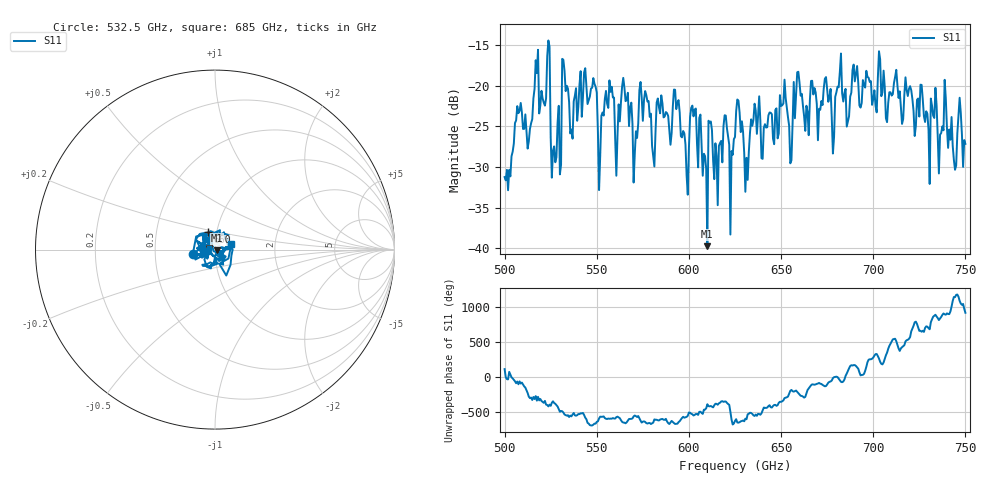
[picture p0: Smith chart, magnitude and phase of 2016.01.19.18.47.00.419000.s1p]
!Created with skrf (http://scikit-rf.org).
# GHz S RI R 50.0
!freq ReS11 ImS11
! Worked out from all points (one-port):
!   401 points, 500 GHz to 750 GHz, reference 50 ohm
!   lowest |S11| = -39.7 dB at 610 GHz (marker M1), VSWR 1.02, Z = 50.9 - j0.436 ohm
!   |S11| at or under -10 dB: start of sweep to end of sweep
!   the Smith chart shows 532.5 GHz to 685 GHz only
!   S11 on the Smith chart (normalised r, x): 532.5 GHz: 0.78, -0.04; 660 GHz: 0.91, +0.18; 685 GHz: 1.20, +0.07
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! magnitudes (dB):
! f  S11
! 500 GHz  -31.2
! 507.5 GHz  -23.4
! 513.8 GHz  -25.3
! 516.9 GHz  -16.9
! 523.1 GHz  -16.4
! 526.9 GHz  -27.5
! 531.2 GHz  -16.7
! 532.5 GHz  -18.2
! 536.2 GHz  -25.4
! 548.8 GHz  -19.8
! 551.9 GHz  -28.6
! 562.5 GHz  -24.4
! 571.2 GHz  -25.6
! 574.4 GHz  -21.4
! 580.6 GHz  -28.7
! 593.8 GHz  -22.1
! 598.8 GHz  -31.1
! 602.5 GHz  -23.8
! 610 GHz  -39.7
! 625 GHz  -26.3
! 631.2 GHz  -28.9
! 636.9 GHz  -25.9
! 656.2 GHz  -24.6
! 660 GHz  -19.6
! 685 GHz  -20.4
! 687.5 GHz  -21.4
! 718.8 GHz  -21.3
! 750 GHz  -27.2
